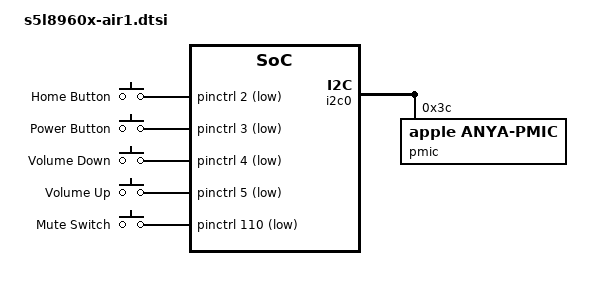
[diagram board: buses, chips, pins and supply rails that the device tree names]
// SPDX-License-Identifier: GPL-2.0+ OR MIT
/*
 * Apple iPad Air  common device tree
 * Based on A7 (APL5698), up to 1.4GHz
 *
 * Copyright (c) 2022, Konrad Dybcio <konradybcio@kernel.org>
 */

#include "s5l8960x.dtsi"
#include "s5l8960x-common.dtsi"
#include "s5l8965x-opp.dtsi"
#include <dt-bindings/input/input.h>

/ {
	chassis-type = "tablet";

	gpio-keys {
		compatible = "gpio-keys";

		button-home {
			label = "Home Button";
			gpios = <&pinctrl 2 GPIO_ACTIVE_LOW>;
			linux,code = <KEY_HOMEPAGE>;
			wakeup-source;
		};

		button-power {
			label = "Power Button";
			gpios = <&pinctrl 3 GPIO_ACTIVE_LOW>;
			linux,code = <KEY_POWER>;
			wakeup-source;
		};

		button-voldown {
			label = "Volume Down";
			gpios = <&pinctrl 4 GPIO_ACTIVE_LOW>;
			linux,code = <KEY_VOLUMEDOWN>;
		};

		button-volup {
			label = "Volume Up";
			gpios = <&pinctrl 5 GPIO_ACTIVE_LOW>;
			linux,code = <KEY_VOLUMEUP>;
		};

		switch-mute {
			label = "Mute Switch";
			gpios = <&pinctrl 110 GPIO_ACTIVE_LOW>;
			linux,code = <KEY_MUTE>;
		};
	};
};

&framebuffer0 {
	power-domains = <&ps_disp0 &ps_dp>;
};

&i2c0 {
	status = "okay";

	pmic@3c {
		compatible = "apple,anya-pmic", "apple,i2c-pmic";
		reg = <0x3c>;
		#address-cells = <1>;
		#size-cells = <1>;

		rtc@5c0 {
			compatible = "apple,anya-pmic-rtc", "apple,amber-pmic-rtc";
			reg = <0x5c0 0x10>;
			nvmem-cells = <&rtc_offset>;
			nvmem-cell-names = "rtc_offset";
		};

		backlight@600 {
			compatible = "apple,anya-pmic-bl";
			reg = <0x600 0x2>;
		};

		nvmem@4000 {
			compatible = "apple,pmic-nvmem";
			reg = <0x4000 0x28>;

			nvmem-layout {
				compatible = "fixed-layout";
				#address-cells = <1>;
				#size-cells = <1>;

				rtc_offset: rtc-offset@4 {
					reg = <0x4 0x4>;
				};
			};
		};
	};
};
